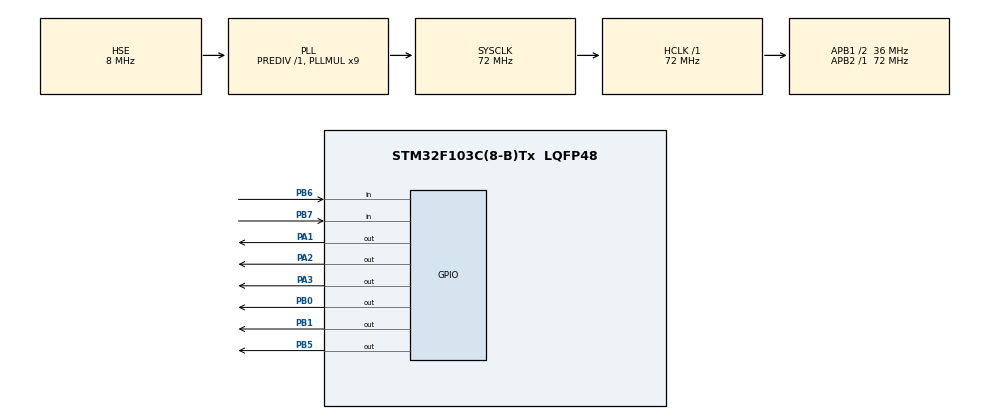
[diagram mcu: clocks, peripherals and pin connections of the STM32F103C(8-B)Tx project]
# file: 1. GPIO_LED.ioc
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Mcu.Family=STM32F1
Mcu.Name=STM32F103C(8-B)Tx
Mcu.Package=LQFP48
NVIC.PriorityGroup=NVIC_PRIORITYGROUP_4
PA1.Signal=GPIO_Output
PA13.Mode=Serial_Wire
PA13.Signal=SYS_JTMS-SWDIO
PA14.Mode=Serial_Wire
PA14.Signal=SYS_JTCK-SWCLK
PA2.Signal=GPIO_Output
PA3.Signal=GPIO_Output
PB0.Signal=GPIO_Output
PB1.Signal=GPIO_Output
PB5.Signal=GPIO_Output
PB6.Signal=GPIO_Input
PB7.Signal=GPIO_Input
PD0-OSC_IN.Mode=HSE-External-Oscillator
PD0-OSC_IN.Signal=RCC_OSC_IN
PD1-OSC_OUT.Mode=HSE-External-Oscillator
PD1-OSC_OUT.Signal=RCC_OSC_OUT
ProjectManager.HeapSize=0x200
ProjectManager.StackSize=0x400
ProjectManager.TargetToolchain=STM32CubeIDE
RCC.AHBFreq_Value=72000000
RCC.APB1CLKDivider=RCC_HCLK_DIV2
RCC.APB1Freq_Value=36000000
RCC.APB1TimFreq_Value=72000000
RCC.APB2Freq_Value=72000000
RCC.APB2TimFreq_Value=72000000
RCC.HCLKFreq_Value=72000000
RCC.PLLMUL=RCC_PLL_MUL9
RCC.PLLSourceVirtual=RCC_PLLSOURCE_HSE
RCC.SYSCLKFreq_VALUE=72000000
RCC.SYSCLKSource=RCC_SYSCLKSOURCE_PLLCLK
RCC.USBFreq_Value=72000000
board=custom

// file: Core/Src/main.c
/* USER CODE BEGIN Header */
/**
  ******************************************************************************
  * @file           : main.c
  * @brief          : Main program body
  ******************************************************************************
  * @attention
  *
  * Copyright (c) 2022 STMicroelectronics.
  * All rights reserved.
  *
  * This software is licensed under terms that can be found in the LICENSE file
  * in the root directory of this software component.
  * If no LICENSE file comes with this software, it is provided AS-IS.
  *
  ******************************************************************************
  */
/* USER CODE END Header */
#include "main.h"

void SystemClock_Config(void);
static void MX_GPIO_Init(void);

int main(void)
{

  /* MCU Configuration--------------------------------------------------------*/

  /* Reset of all peripherals, Initializes the Flash interface and the Systick. */
  HAL_Init();

  /* Configure the system clock */
  SystemClock_Config();

  /* Initialize all configured peripherals */
  MX_GPIO_Init();
  /* USER CODE BEGIN 2 */

  // LED Pull-Up
  // LED OFF
  	  HAL_GPIO_WritePin(GPIOA, GPIO_PIN_1, GPIO_PIN_SET);
  	  HAL_GPIO_WritePin(GPIOA, GPIO_PIN_2, GPIO_PIN_SET);
  	  HAL_GPIO_WritePin(GPIOA, GPIO_PIN_3, GPIO_PIN_SET);
  	  HAL_GPIO_WritePin(GPIOB, GPIO_PIN_0, GPIO_PIN_SET);
  	  HAL_GPIO_WritePin(GPIOB, GPIO_PIN_1, GPIO_PIN_SET);
  	  HAL_GPIO_WritePin(GPIOB, GPIO_PIN_5, GPIO_PIN_SET);

  /* USER CODE END 2 */

  /* Infinite loop */
  /* USER CODE BEGIN WHILE */
  while (1)
  {
	  // Polling
	  // Switch Pull-Up
	  if(HAL_GPIO_ReadPin(GPIOB, GPIO_PIN_6) == GPIO_PIN_SET) // switch button not push down
	  {
		  HAL_GPIO_WritePin(GPIOA, GPIO_PIN_1, GPIO_PIN_SET); // LED OFF
		  HAL_GPIO_WritePin(GPIOA, GPIO_PIN_2, GPIO_PIN_SET); // LED OFF
		  HAL_GPIO_WritePin(GPIOA, GPIO_PIN_3, GPIO_PIN_SET); // LED OFF
	  }
	  else // switch button push down
	  {
		  HAL_GPIO_WritePin(GPIOA, GPIO_PIN_1, GPIO_PIN_RESET); // LED ON
		  HAL_GPIO_WritePin(GPIOA, GPIO_PIN_2, GPIO_PIN_RESET); // LED ON
		  HAL_GPIO_WritePin(GPIOA, GPIO_PIN_3, GPIO_PIN_RESET); // LED ON
	  }

	  if(HAL_GPIO_ReadPin(GPIOB, GPIO_PIN_7) == GPIO_PIN_SET) // switch button not push down
	  {
		  HAL_GPIO_WritePin(GPIOB, GPIO_PIN_0, GPIO_PIN_SET); // LED OFF
		  HAL_GPIO_WritePin(GPIOB, GPIO_PIN_1, GPIO_PIN_SET); // LED OFF
		  HAL_GPIO_WritePin(GPIOB, GPIO_PIN_5, GPIO_PIN_SET); // LED OFF
	  }
	  else // switch button push down
	  {
		  HAL_GPIO_WritePin(GPIOB, GPIO_PIN_0, GPIO_PIN_RESET); // LED ON
		  HAL_GPIO_WritePin(GPIOB, GPIO_PIN_1, GPIO_PIN_RESET); // LED ON
		  HAL_GPIO_WritePin(GPIOB, GPIO_PIN_5, GPIO_PIN_RESET); // LED ON
	  }
    /* USER CODE END WHILE */

  }
}

void SystemClock_Config(void)
{
  RCC_OscInitTypeDef RCC_OscInitStruct = {0};
  RCC_ClkInitTypeDef RCC_ClkInitStruct = {0};

  /** Initializes the RCC Oscillators according to the specified parameters
  * in the RCC_OscInitTypeDef structure.
  */
  RCC_OscInitStruct.OscillatorType = RCC_OSCILLATORTYPE_HSE;
  RCC_OscInitStruct.HSEState = RCC_HSE_ON;
  RCC_OscInitStruct.HSEPredivValue = RCC_HSE_PREDIV_DIV1;
  RCC_OscInitStruct.HSIState = RCC_HSI_ON;
  RCC_OscInitStruct.PLL.PLLState = RCC_PLL_ON;
  RCC_OscInitStruct.PLL.PLLSource = RCC_PLLSOURCE_HSE;
  RCC_OscInitStruct.PLL.PLLMUL = RCC_PLL_MUL9;
  if (HAL_RCC_OscConfig(&RCC_OscInitStruct) != HAL_OK)
  {
    Error_Handler();
  }

  /** Initializes the CPU, AHB and APB buses clocks
  */
  RCC_ClkInitStruct.ClockType = RCC_CLOCKTYPE_HCLK|RCC_CLOCKTYPE_SYSCLK
                              |RCC_CLOCKTYPE_PCLK1|RCC_CLOCKTYPE_PCLK2;
  RCC_ClkInitStruct.SYSCLKSource = RCC_SYSCLKSOURCE_PLLCLK;
  RCC_ClkInitStruct.AHBCLKDivider = RCC_SYSCLK_DIV1;
  RCC_ClkInitStruct.APB1CLKDivider = RCC_HCLK_DIV2;
  RCC_ClkInitStruct.APB2CLKDivider = RCC_HCLK_DIV1;

  if (HAL_RCC_ClockConfig(&RCC_ClkInitStruct, FLASH_LATENCY_2) != HAL_OK)
  {
    Error_Handler();
  }
}

static void MX_GPIO_Init(void)
{
  GPIO_InitTypeDef GPIO_InitStruct = {0};

  /* GPIO Ports Clock Enable */
  __HAL_RCC_GPIOD_CLK_ENABLE();
  __HAL_RCC_GPIOA_CLK_ENABLE();
  __HAL_RCC_GPIOB_CLK_ENABLE();

  /*Configure GPIO pin Output Level */
  HAL_GPIO_WritePin(GPIOA, GPIO_PIN_1|GPIO_PIN_2|GPIO_PIN_3, GPIO_PIN_RESET);

  /*Configure GPIO pin Output Level */
  HAL_GPIO_WritePin(GPIOB, GPIO_PIN_0|GPIO_PIN_1|GPIO_PIN_5, GPIO_PIN_RESET);

  /*Configure GPIO pins : PA1 PA2 PA3 */
  GPIO_InitStruct.Pin = GPIO_PIN_1|GPIO_PIN_2|GPIO_PIN_3;
  GPIO_InitStruct.Mode = GPIO_MODE_OUTPUT_PP;
  GPIO_InitStruct.Pull = GPIO_NOPULL;
  GPIO_InitStruct.Speed = GPIO_SPEED_FREQ_LOW;
  HAL_GPIO_Init(GPIOA, &GPIO_InitStruct);

  /*Configure GPIO pins : PB0 PB1 PB5 */
  GPIO_InitStruct.Pin = GPIO_PIN_0|GPIO_PIN_1|GPIO_PIN_5;
  GPIO_InitStruct.Mode = GPIO_MODE_OUTPUT_PP;
  GPIO_InitStruct.Pull = GPIO_NOPULL;
  GPIO_InitStruct.Speed = GPIO_SPEED_FREQ_LOW;
  HAL_GPIO_Init(GPIOB, &GPIO_InitStruct);

  /*Configure GPIO pins : PB6 PB7 */
  GPIO_InitStruct.Pin = GPIO_PIN_6|GPIO_PIN_7;
  GPIO_InitStruct.Mode = GPIO_MODE_INPUT;
  GPIO_InitStruct.Pull = GPIO_NOPULL;
  HAL_GPIO_Init(GPIOB, &GPIO_InitStruct);

}

void Error_Handler(void)
{
  __disable_irq();
  while (1)
  {
  }
}
